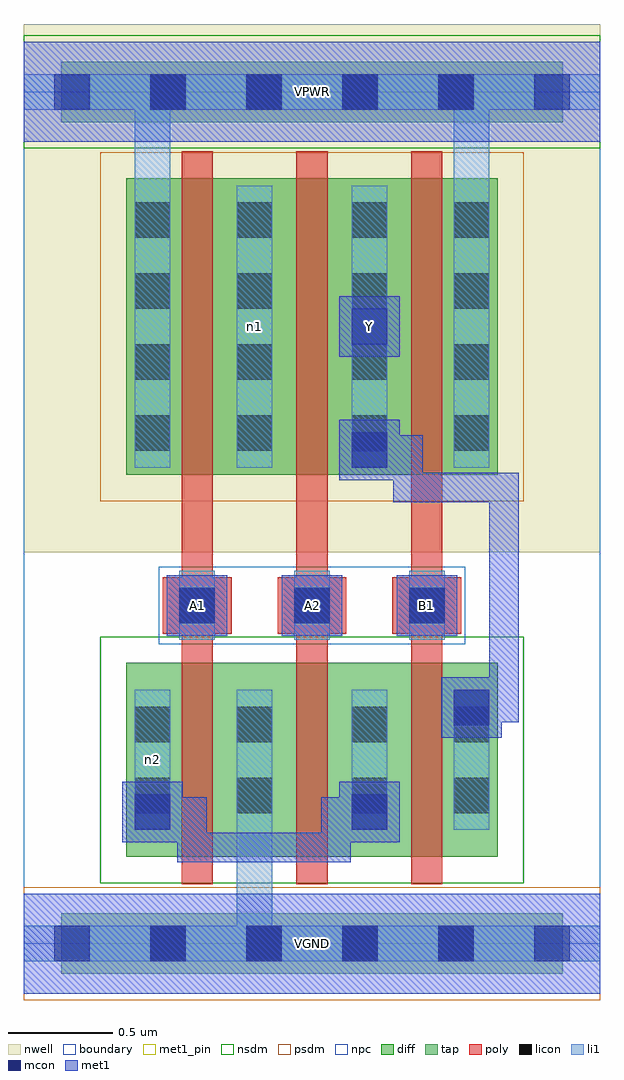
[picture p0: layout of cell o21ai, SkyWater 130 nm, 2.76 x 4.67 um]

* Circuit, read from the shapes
.subckt o21ai A1 A2 B1 VGND VPWR Y n1 n2
XM1 VGND A1 n2 VGND sky130_fd_pr__nfet_01v8 w=0.93 l=0.15
XM2 n2 A2 VGND VGND sky130_fd_pr__nfet_01v8 w=0.93 l=0.15
XM3 Y B1 n2 VGND sky130_fd_pr__nfet_01v8 w=0.93 l=0.15
XM4 n1 A1 VPWR VPWR sky130_fd_pr__pfet_01v8 w=1.42 l=0.15
XM5 Y A2 n1 VPWR sky130_fd_pr__pfet_01v8 w=1.42 l=0.15
XM6 VPWR B1 Y VPWR sky130_fd_pr__pfet_01v8 w=1.42 l=0.15
.ends

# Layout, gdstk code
import gdstk
lib = gdstk.Library(unit=1e-6, precision=1e-09)
def R(c, l, rs):  # rectangles x0, y0, x1, y1
    for r in rs: c.add(gdstk.rectangle(r[:2], r[2:], *l))
def A(c, l, x, y, w, h, nx, ny, dx, dy):  # array of equal rectangles
    R(c, l, [(x+i*dx, y+j*dy, x+i*dx+w, y+j*dy+h) for i in range(nx) for j in range(ny)])
nwell = (64, 20)
diff = (65, 20)
tap = (65, 44)
poly = (66, 20)
licon = (66, 44)
li1 = (67, 20)
mcon = (67, 44)
met1_pin = (68, 16)
met1 = (68, 20)
nsdm = (93, 44)
psdm = (94, 20)
npc = (95, 20)
boundary = (235, 4)

o21ai = lib.new_cell('o21ai')
R(o21ai, nwell, [(0,1.875,2.76,4.405)])
R(o21ai, diff, [(0.49,0.415,2.27,1.345), (0.49,2.245,2.27,3.665)])
R(o21ai, tap, [(0.18,-0.145,2.58,0.145), (0.18,3.935,2.58,4.225)])
A(o21ai, poly, 0.755, 0.285, 0.15, 3.51, 3, 1, 0.55, 0)
A(o21ai, poly, 0.665, 1.485, 0.33, 0.27, 3, 1, 0.55, 0)
A(o21ai, licon, 0.605, -0.085, 0.17, 0.17, 4, 2, 0.46, 4.08)
A(o21ai, licon, 0.745, 1.535, 0.17, 0.17, 3, 1, 0.55, 0)
A(o21ai, licon, 0.53, 2.36, 0.17, 0.17, 1, 4, 0, 0.34)
A(o21ai, licon, 1.02, 2.36, 0.17, 0.17, 1, 4, 0, 0.34)
A(o21ai, licon, 1.57, 2.36, 0.17, 0.17, 1, 4, 0, 0.34)
A(o21ai, licon, 2.06, 2.36, 0.17, 0.17, 1, 4, 0, 0.34)
R(o21ai, licon, [(0.53,0.625,0.7,0.795), (1.02,0.625,1.19,0.795), (1.57,0.625,1.74,0.795), (2.06,0.625,2.23,0.795), (0.53,0.965,0.7,1.135), (1.02,0.965,1.19,1.135), (1.57,0.965,1.74,1.135), (2.06,0.965,2.23,1.135)])
A(o21ai, li1, 0.745, 1.455, 0.17, 0.33, 3, 1, 0.55, 0)
R(o21ai, li1, [(0,-0.085,2.76,0.085), (1.02,-0.085,1.19,1.215), (0.53,0.545,0.7,1.215), (1.02,0.545,1.19,1.215), (1.57,0.545,1.74,1.215), (2.06,0.545,2.23,1.215), (0.53,2.28,0.7,3.63), (0.53,2.28,0.7,4.165), (1.02,2.28,1.19,3.63), (1.57,2.28,1.74,3.63), (2.06,2.28,2.23,3.63), (2.06,2.28,2.23,4.165), (0,3.995,2.76,4.165)])
A(o21ai, mcon, 0.145, -0.085, 0.17, 0.17, 6, 2, 0.46, 4.08)
A(o21ai, mcon, 0.745, 1.535, 0.17, 0.17, 3, 1, 0.55, 0)
R(o21ai, mcon, [(0.53,0.545,0.7,0.715), (1.57,0.545,1.74,0.715), (2.06,1.045,2.23,1.215), (1.57,2.28,1.74,2.45), (1.57,2.87,1.74,3.04)])
A(o21ai, met1_pin, 0.685, 1.475, 0.29, 0.29, 3, 1, 0.55, 0)
R(o21ai, met1_pin, [(0,-0.24,2.76,0.24), (1.51,2.81,1.8,3.1), (0,3.84,2.76,4.32)])
A(o21ai, met1, 0.685, 1.475, 0.29, 0.29, 3, 1, 0.55, 0)
R(o21ai, met1, [(0,-0.24,2.76,0.24), (0.735,0.39,0.875,0.7), (0.735,0.39,1.565,0.53), (1.425,0.39,1.565,0.7), (0.47,0.485,0.76,0.775), (1.51,0.485,1.8,0.775), (0.545,0.56,0.875,0.7), (1.425,0.56,1.725,0.7), (2,0.985,2.29,1.275), (2.075,1.06,2.37,1.2), (2.23,1.06,2.37,1.335), (2.23,1.195,2.37,2.255), (1.77,2.115,1.91,2.435), (1.77,2.115,2.37,2.255), (1.51,2.22,1.8,2.51), (1.585,2.295,1.91,2.435), (1.51,2.81,1.8,3.1), (0,3.84,2.76,4.32)])
R(o21ai, nsdm, [(0.365,0.29,2.395,1.47), (0,3.81,2.76,4.35)])
R(o21ai, psdm, [(0,-0.27,2.76,0.27), (0.365,2.12,2.395,3.79)])
R(o21ai, npc, [(0.645,1.435,2.115,1.805)])
R(o21ai, boundary, [(0,0,2.76,4.08)])
o21ai.add(gdstk.Label('n2', (0.615,0.88), layer=67, texttype=5))
o21ai.add(gdstk.Label('n1', (1.105,2.955), layer=67, texttype=5))
o21ai.add(gdstk.Label('A1', (0.83,1.62), layer=68, texttype=5))
o21ai.add(gdstk.Label('A2', (1.38,1.62), layer=68, texttype=5))
o21ai.add(gdstk.Label('B1', (1.93,1.62), layer=68, texttype=5))
o21ai.add(gdstk.Label('Y', (1.655,2.955), layer=68, texttype=5))
o21ai.add(gdstk.Label('VPWR', (1.38,4.08), layer=68, texttype=5))
o21ai.add(gdstk.Label('VGND', (1.38,0), layer=68, texttype=5))
o21ai.add(gdstk.Label('A1', (0.83,1.62), layer=68, texttype=16))
o21ai.add(gdstk.Label('A2', (1.38,1.62), layer=68, texttype=16))
o21ai.add(gdstk.Label('B1', (1.93,1.62), layer=68, texttype=16))
o21ai.add(gdstk.Label('Y', (1.655,2.955), layer=68, texttype=16))
o21ai.add(gdstk.Label('VPWR', (1.38,4.08), layer=68, texttype=16))
o21ai.add(gdstk.Label('VGND', (1.38,0), layer=68, texttype=16))

lib.write_gds('o21ai.gds')
